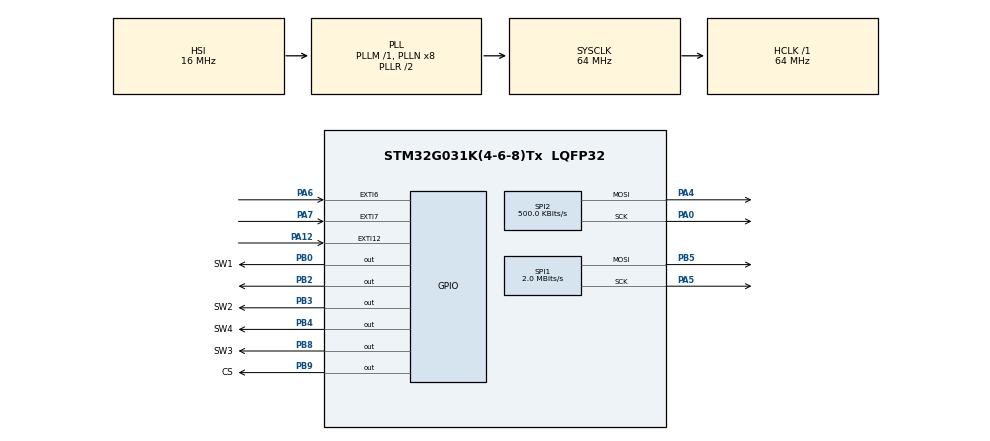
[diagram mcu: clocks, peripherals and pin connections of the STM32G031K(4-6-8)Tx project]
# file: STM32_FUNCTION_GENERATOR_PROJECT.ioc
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Mcu.Family=STM32G0
Mcu.Name=STM32G031K(4-6-8)Tx
Mcu.Package=LQFP32
NVIC.EXTI4_15_IRQn=true\:0\:0\:false\:false\:true\:true\:true\:true
NVIC.TIM14_IRQn=true\:0\:0\:false\:false\:true\:true\:true\:true
PA0.Mode=TX_Only_Simplex_Unidirect_Master
PA0.Signal=SPI2_SCK
PA12\ [PA10].GPIO_ModeDefaultEXTI=GPIO_MODE_IT_FALLING
PA12\ [PA10].GPIO_PuPd=GPIO_PULLDOWN
PA12\ [PA10].Signal=GPXTI12
PA13.GPIO_Label=T_JTMS
PA13.Mode=Serial_Wire
PA13.Signal=SYS_SWDIO
PA14-BOOT0.GPIO_Label=T_JTCK
PA14-BOOT0.Mode=Serial_Wire
PA14-BOOT0.Signal=SYS_SWCLK
PA2.GPIO_Label=T_VCP_TX
PA2.GPIO_PuPd=GPIO_PULLUP
PA2.Signal=USART2_TX
PA3.GPIO_Label=T_VCP_RX
PA3.GPIO_PuPd=GPIO_PULLUP
PA3.Signal=USART2_RX
PA4.Mode=TX_Only_Simplex_Unidirect_Master
PA4.Signal=SPI2_MOSI
PA5.Mode=TX_Only_Simplex_Unidirect_Master
PA5.Signal=SPI1_SCK
PA6.GPIO_ModeDefaultEXTI=GPIO_MODE_IT_FALLING
PA6.GPIO_PuPd=GPIO_PULLDOWN
PA6.Signal=GPXTI6
PA7.GPIO_ModeDefaultEXTI=GPIO_MODE_IT_FALLING
PA7.GPIO_PuPd=GPIO_PULLDOWN
PA7.Signal=GPXTI7
PB0.GPIO_Label=SW1
PB0.Signal=GPIO_Output
PB2.Signal=GPIO_Output
PB3.GPIO_Label=SW2
PB3.Signal=GPIO_Output
PB4.GPIO_Label=SW4
PB4.Signal=GPIO_Output
PB5.Mode=TX_Only_Simplex_Unidirect_Master
PB5.Signal=SPI1_MOSI
PB8.GPIO_Label=SW3
PB8.Signal=GPIO_Output
PB9.GPIO_Label=CS
PB9.Signal=GPIO_Output
ProjectManager.HeapSize=0x200
ProjectManager.StackSize=0x400
ProjectManager.TargetToolchain=STM32CubeIDE
RCC.ADCFreq_Value=64000000
RCC.AHBFreq_Value=64000000
RCC.APB1CLKDivider=RCC_HCLK_DIV2
RCC.CortexFreq_Value=64000000
RCC.EXTERNAL_CLOCK_VALUE=12288000
RCC.HCLKFreq_Value=64000000
RCC.HSE_VALUE=8000000
RCC.HSI_VALUE=16000000
RCC.LSE_VALUE=32768
RCC.SYSCLKFreq_VALUE=64000000
RCC.SYSCLKSource=RCC_SYSCLKSOURCE_PLLCLK
RCC.VCOOutputFreq_Value=128000000
SPI1.BaudRatePrescaler=SPI_BAUDRATEPRESCALER_16
SPI1.CalculateBaudRate=2.0 MBits/s
SPI1.DataSize=SPI_DATASIZE_16BIT
SPI1.Direction=SPI_DIRECTION_2LINES
SPI1.Mode=SPI_MODE_MASTER
SPI1.VirtualType=VM_MASTER
SPI2.BaudRatePrescaler=SPI_BAUDRATEPRESCALER_64
SPI2.CalculateBaudRate=500.0 KBits/s
SPI2.DataSize=SPI_DATASIZE_16BIT
SPI2.Direction=SPI_DIRECTION_2LINES
SPI2.Mode=SPI_MODE_MASTER
SPI2.VirtualType=VM_MASTER
TIM14.Period=200
TIM14.Prescaler=8
VP_TIM14_VS_ClockSourceINT.Mode=Enable_Timer
board=NUCLEO-G031K8

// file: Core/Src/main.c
/* USER CODE BEGIN Header */
/**
  ******************************************************************************
  * @file           : main.c
  * @brief          : Main program body
  ******************************************************************************
  * @attention
  *
  * Copyright (c) 2024 STMicroelectronics.
  * All rights reserved.
  *
  * This software is licensed under terms that can be found in the LICENSE file
  * in the root directory of this software component.
  * If no LICENSE file comes with this software, it is provided AS-IS.
  *
  ******************************************************************************
  */
/* USER CODE END Header */
#include "main.h"

/* USER CODE BEGIN Includes */
#include <math.h>
/* USER CODE END Includes */

SPI_HandleTypeDef hspi1;
SPI_HandleTypeDef hspi2;

TIM_HandleTypeDef htim14;

/* USER CODE BEGIN PV */
uint8_t sine_table[TABLE_SIZE];
uint8_t square_table[TABLE_SIZE];
uint8_t triangle_table[TABLE_SIZE];

volatile WaveformType current_waveform = WAVEFORM_SINE;

volatile bool activate_cap1_state; // Capacitor 1 -> 10uF
volatile bool activate_cap2_state; // Capacitor 2 -> 1uF
volatile bool activate_cap3_state; // Capacitor 3 -> 100nF
volatile bool activate_cap4_state; // Capacitor 4 -> 10nF
/* USER CODE END PV */

void SystemClock_Config(void);
static void MX_GPIO_Init(void);
static void MX_SPI1_Init(void);
static void MX_TIM14_Init(void);
static void MX_SPI2_Init(void);
/* USER CODE BEGIN PFP */
void DAC_SetValue(uint8_t value);
void GenerateSineTable();
void GenerateSquareTable();
void GenerateTriangleTable();
void POT_SetValue(uint8_t value);
void CycleWaveform();
void set_RC_filter(uint8_t pot_value, bool cap1, bool cap2, bool cap3, bool cap4); // Pour faire des ajustements facilement
void set_capacitors(bool cap1, bool cap2, bool cap3, bool cap4);
void adjust_pot_based_on_TIM14(void);
/* USER CODE END PFP */

/* USER CODE BEGIN 0 */
void GenerateSineTable() {
    for(int i = 0; i < TABLE_SIZE; i++)
        sine_table[i] = (uint8_t)((sin(2 * PI * i / TABLE_SIZE) + 1) * (127.5/2)); // Scale to 0-255
}

void GenerateSquareTable() {
    for(int i = 0; i < TABLE_SIZE; i++)
        square_table[i] = (i < (TABLE_SIZE / 2)) ? 128 : 0;
}

void GenerateTriangleTable() {
    for(int i = 0; i <= TABLE_SIZE/2; i++)
        	triangle_table[i] = i * (256/TABLE_SIZE);    // Rising edge

    for(int i = TABLE_SIZE/2; i < TABLE_SIZE; i++)
    	triangle_table[i] = 255 - (i * (256/TABLE_SIZE));    	// Falling edge
}

void CycleWaveform() {
    current_waveform = (current_waveform + 1) % WAVEFORM_COUNT;
}

void DAC_SetValue(uint8_t value) {
    uint16_t data = 0;

    data |= MCP4901_BUFFER;
    data |= MCP4901_GAIN2X;
    data |= MCP4901_ACTIVE;
    data |= (value << 4); // Place the 8-bit data in bits 11-4

    // Drive the CS pin low (active low)
    HAL_GPIO_WritePin(GPIOB, CS_Pin, GPIO_PIN_RESET);

    // Transmit data over SPI
    HAL_SPI_Transmit(&hspi1, (uint8_t*)&data, 1, HAL_MAX_DELAY);

    // Then raise CS (causes the data to be latched into the DAC's input register)
    HAL_GPIO_WritePin(GPIOB, CS_Pin, GPIO_PIN_SET);
}

void POT_SetValue(uint8_t value) {
	if(value > 128)
		value = 127;

	uint16_t data = 0;

	data |= value;

	// Enable (NCS low)
	HAL_GPIO_WritePin(GPIOB,GPIO_PIN_2,GPIO_PIN_RESET);

	HAL_SPI_Transmit(&hspi2, (uint8_t*)&data, 1, HAL_MAX_DELAY);

	// Disable (NCS high)
	HAL_GPIO_WritePin(GPIOB,GPIO_PIN_2,GPIO_PIN_SET);
}

/**
 * @brief Sets the RC filter by configuring the potentiometer and activating/deactivating capacitors.
 *
 * @param pot_value    The desired potentiometer value (0 to 127).
 * @param cap1         Activate Capacitor 1 if true; deactivate if false.
 * @param cap2         Activate Capacitor 2 if true; deactivate if false.
 * @param cap3         Activate Capacitor 3 if true; deactivate if false.
 * @param cap4         Activate Capacitor 4 if true; deactivate if false.
 */
void set_RC_filter(uint8_t pot_value, bool cap1, bool cap2, bool cap3, bool cap4) {
    // Limit potentiometer value to 127 (7-bit resolution)
    if(pot_value > 127)
        pot_value = 127;

    // Set the potentiometer to the specified value
    POT_SetValue(pot_value);

    // Activate or deactivate Capacitor 1 (PB0)
    if(cap1)
        HAL_GPIO_WritePin(GPIOB, SW1_Pin, GPIO_PIN_SET);
    else
        HAL_GPIO_WritePin(GPIOB, SW1_Pin, GPIO_PIN_RESET);

    // Activate or deactivate Capacitor 2 (PB3)
    if(cap2)
        HAL_GPIO_WritePin(GPIOB, SW2_Pin, GPIO_PIN_SET);
    else
        HAL_GPIO_WritePin(GPIOB, SW2_Pin, GPIO_PIN_RESET);

    // Activate or deactivate Capacitor 3 (PB8)
    if(cap3)
        HAL_GPIO_WritePin(GPIOB, SW3_Pin, GPIO_PIN_SET);
    else
        HAL_GPIO_WritePin(GPIOB, SW3_Pin, GPIO_PIN_RESET);

    // Activate or deactivate Capacitor 4 (PB4)
    if(cap4)
        HAL_GPIO_WritePin(GPIOB, SW4_Pin, GPIO_PIN_SET);
    else
        HAL_GPIO_WritePin(GPIOB, SW4_Pin, GPIO_PIN_RESET);
}

void set_capacitors(bool cap1, bool cap2, bool cap3, bool cap4) {
    // Update global capacitor state variables
    activate_cap1_state = cap1;
    activate_cap2_state = cap2;
    activate_cap3_state = cap3;
    activate_cap4_state = cap4;

    // Activate or deactivate Capacitor 1 (SW1_Pin = PB0 = D6)
    if (cap1) {
        HAL_GPIO_WritePin(GPIOB, SW1_Pin, GPIO_PIN_SET);
    } else {
        HAL_GPIO_WritePin(GPIOB, SW1_Pin, GPIO_PIN_RESET);
    }

    // Activate or deactivate Capacitor 2 (SW2_Pin = PB3 = D13)
    if (cap2) {
        HAL_GPIO_WritePin(GPIOB, SW2_Pin, GPIO_PIN_SET);
    } else {
        HAL_GPIO_WritePin(GPIOB, SW2_Pin, GPIO_PIN_RESET);
    }

    // Activate or deactivate Capacitor 3 (SW3_Pin = PB8 = D8)
    if (cap3) {
        HAL_GPIO_WritePin(GPIOB, SW3_Pin, GPIO_PIN_SET);
    } else {
        HAL_GPIO_WritePin(GPIOB, SW3_Pin, GPIO_PIN_RESET);
    }

    // Activate or deactivate Capacitor 4 (SW4_Pin = PB4 = D12)
    if (cap4) {
        HAL_GPIO_WritePin(GPIOB, SW4_Pin, GPIO_PIN_SET);
    } else {
        HAL_GPIO_WritePin(GPIOB, SW4_Pin, GPIO_PIN_RESET);
    }
}

void adjust_pot_based_on_TIM14(void) {
    // Retrieve the current ARR value from TIM14
    uint32_t current_ARR = htim14.Instance->ARR;

    uint8_t pot_value = 0; // Default potentiometer value

    // Note: Higher ARR (lower SPI rate) -> Higher pot_value (higher R, lower f_c)

    switch(current_waveform) {
        case WAVEFORM_SQUARE:
            // No filtering: deactivate all capacitors and set potentiometer to lowest value
            pot_value = 0; // Lowest potentiometer value
            set_capacitors(false, false, false, false);
            POT_SetValue(pot_value);
            break;

        case WAVEFORM_SINE:
            if (current_ARR <= 400)
                pot_value = 100;
            else if (current_ARR <= 800)
                pot_value = 80;
            else if (current_ARR <= 1200)
                pot_value = 60;
            else if (current_ARR <= 1600)
                pot_value = 40;
            else if (current_ARR <= 2000)
                pot_value = 20;
            else
                pot_value = 127;

            // On doit remettre l'états des capa vu qu'elles sont reset quand current_waveform == WAVEFORM_SQUARE
            activate_cap1_state = false;
            activate_cap2_state = false;
            activate_cap3_state = true;
            activate_cap4_state = false;

            set_capacitors(activate_cap1_state, activate_cap2_state, activate_cap3_state, activate_cap4_state);
            POT_SetValue(pot_value);
            break;

        case WAVEFORM_TRIANGLE:
            if (current_ARR <= 400)
                pot_value = 0;
            else if (current_ARR <= 800)
                pot_value = 10;
            else if (current_ARR <= 1200)
                pot_value = 10;
            else
                pot_value = 10;

            activate_cap1_state = false;
            activate_cap2_state = false;
            activate_cap3_state = true;
            activate_cap4_state = false;

            set_capacitors(activate_cap1_state, activate_cap2_state, activate_cap3_state, activate_cap4_state);
            POT_SetValue(pot_value);
            break;

        default:
            // boh ?
            break;
    }
}
/* USER CODE END 0 */

int main(void)
{

  /* MCU Configuration--------------------------------------------------------*/

  /* Reset of all peripherals, Initializes the Flash interface and the Systick. */
  HAL_Init();

  /* USER CODE BEGIN Init */
  GenerateSineTable();
  GenerateSquareTable();
  GenerateTriangleTable();
  /* USER CODE END Init */

  /* Configure the system clock */
  SystemClock_Config();

  /* Initialize all configured peripherals */
  MX_GPIO_Init();
  MX_SPI1_Init();
  MX_TIM14_Init();
  MX_SPI2_Init();
  /* USER CODE BEGIN 2 */
  HAL_TIM_Base_Start_IT(&htim14);

  // Config initiale des capa. (et des variables globales)
  //-----------------------------
  activate_cap1_state = false;    // sur la breadboard -> 10nF
  activate_cap2_state = false;     // 100nF
  activate_cap3_state = true;
  activate_cap4_state = false;

  // Set capacitors (without changing the potentiometer)
  set_capacitors(activate_cap1_state,
		  	  	 activate_cap2_state,
				 activate_cap3_state,
				 activate_cap4_state);
  //-----------------------------
  /* USER CODE END 2 */

  /* Infinite loop */
  while (1)
  {

  }
}

void SystemClock_Config(void)
{
  RCC_OscInitTypeDef RCC_OscInitStruct = {0};
  RCC_ClkInitTypeDef RCC_ClkInitStruct = {0};

  /** Configure the main internal regulator output voltage
  */
  HAL_PWREx_ControlVoltageScaling(PWR_REGULATOR_VOLTAGE_SCALE1);

  /** Initializes the RCC Oscillators according to the specified parameters
  * in the RCC_OscInitTypeDef structure.
  */
  RCC_OscInitStruct.OscillatorType = RCC_OSCILLATORTYPE_HSI;
  RCC_OscInitStruct.HSIState = RCC_HSI_ON;
  RCC_OscInitStruct.HSIDiv = RCC_HSI_DIV1;
  RCC_OscInitStruct.HSICalibrationValue = RCC_HSICALIBRATION_DEFAULT;
  RCC_OscInitStruct.PLL.PLLState = RCC_PLL_ON;
  RCC_OscInitStruct.PLL.PLLSource = RCC_PLLSOURCE_HSI;
  RCC_OscInitStruct.PLL.PLLM = RCC_PLLM_DIV1;
  RCC_OscInitStruct.PLL.PLLN = 8;
  RCC_OscInitStruct.PLL.PLLP = RCC_PLLP_DIV2;
  RCC_OscInitStruct.PLL.PLLQ = RCC_PLLQ_DIV2;
  RCC_OscInitStruct.PLL.PLLR = RCC_PLLR_DIV2;
  if (HAL_RCC_OscConfig(&RCC_OscInitStruct) != HAL_OK)
  {
    Error_Handler();
  }

  /** Initializes the CPU, AHB and APB buses clocks
  */
  RCC_ClkInitStruct.ClockType = RCC_CLOCKTYPE_HCLK|RCC_CLOCKTYPE_SYSCLK
                              |RCC_CLOCKTYPE_PCLK1;
  RCC_ClkInitStruct.SYSCLKSource = RCC_SYSCLKSOURCE_PLLCLK;
  RCC_ClkInitStruct.AHBCLKDivider = RCC_SYSCLK_DIV1;
  RCC_ClkInitStruct.APB1CLKDivider = RCC_HCLK_DIV2;

  if (HAL_RCC_ClockConfig(&RCC_ClkInitStruct, FLASH_LATENCY_2) != HAL_OK)
  {
    Error_Handler();
  }
}

static void MX_SPI1_Init(void)
{

  /* SPI1 parameter configuration*/
  hspi1.Instance = SPI1;
  hspi1.Init.Mode = SPI_MODE_MASTER;
  hspi1.Init.Direction = SPI_DIRECTION_2LINES;
  hspi1.Init.DataSize = SPI_DATASIZE_16BIT;
  hspi1.Init.CLKPolarity = SPI_POLARITY_LOW;
  hspi1.Init.CLKPhase = SPI_PHASE_1EDGE;
  hspi1.Init.NSS = SPI_NSS_SOFT;
  hspi1.Init.BaudRatePrescaler = SPI_BAUDRATEPRESCALER_16;
  hspi1.Init.FirstBit = SPI_FIRSTBIT_MSB;
  hspi1.Init.TIMode = SPI_TIMODE_DISABLE;
  hspi1.Init.CRCCalculation = SPI_CRCCALCULATION_DISABLE;
  hspi1.Init.CRCPolynomial = 7;
  hspi1.Init.CRCLength = SPI_CRC_LENGTH_DATASIZE;
  hspi1.Init.NSSPMode = SPI_NSS_PULSE_ENABLE;
  if (HAL_SPI_Init(&hspi1) != HAL_OK)
  {
    Error_Handler();
  }

}

static void MX_SPI2_Init(void)
{

  /* SPI2 parameter configuration*/
  hspi2.Instance = SPI2;
  hspi2.Init.Mode = SPI_MODE_MASTER;
  hspi2.Init.Direction = SPI_DIRECTION_2LINES;
  hspi2.Init.DataSize = SPI_DATASIZE_16BIT;
  hspi2.Init.CLKPolarity = SPI_POLARITY_LOW;
  hspi2.Init.CLKPhase = SPI_PHASE_1EDGE;
  hspi2.Init.NSS = SPI_NSS_SOFT;
  hspi2.Init.BaudRatePrescaler = SPI_BAUDRATEPRESCALER_64;
  hspi2.Init.FirstBit = SPI_FIRSTBIT_MSB;
  hspi2.Init.TIMode = SPI_TIMODE_DISABLE;
  hspi2.Init.CRCCalculation = SPI_CRCCALCULATION_DISABLE;
  hspi2.Init.CRCPolynomial = 7;
  hspi2.Init.CRCLength = SPI_CRC_LENGTH_DATASIZE;
  hspi2.Init.NSSPMode = SPI_NSS_PULSE_ENABLE;
  if (HAL_SPI_Init(&hspi2) != HAL_OK)
  {
    Error_Handler();
  }

}

static void MX_TIM14_Init(void)
{

  htim14.Instance = TIM14;
  htim14.Init.Prescaler = 8;
  htim14.Init.CounterMode = TIM_COUNTERMODE_UP;
  htim14.Init.Period = 200;
  htim14.Init.ClockDivision = TIM_CLOCKDIVISION_DIV1;
  htim14.Init.AutoReloadPreload = TIM_AUTORELOAD_PRELOAD_DISABLE;
  if (HAL_TIM_Base_Init(&htim14) != HAL_OK)
  {
    Error_Handler();
  }

}

static void MX_GPIO_Init(void)
{
  GPIO_InitTypeDef GPIO_InitStruct = {0};

  /* GPIO Ports Clock Enable */
  __HAL_RCC_GPIOB_CLK_ENABLE();
  __HAL_RCC_GPIOA_CLK_ENABLE();

  /*Configure GPIO pin Output Level */
  HAL_GPIO_WritePin(GPIOB, CS_Pin|SW1_Pin|GPIO_PIN_2|SW2_Pin
                          |SW4_Pin|SW3_Pin, GPIO_PIN_RESET);

  /*Configure GPIO pins : CS_Pin SW1_Pin PB2 SW2_Pin
                           SW4_Pin SW3_Pin */
  GPIO_InitStruct.Pin = CS_Pin|SW1_Pin|GPIO_PIN_2|SW2_Pin
                          |SW4_Pin|SW3_Pin;
  GPIO_InitStruct.Mode = GPIO_MODE_OUTPUT_PP;
  GPIO_InitStruct.Pull = GPIO_NOPULL;
  GPIO_InitStruct.Speed = GPIO_SPEED_FREQ_LOW;
  HAL_GPIO_Init(GPIOB, &GPIO_InitStruct);

  /*Configure GPIO pins : T_VCP_TX_Pin T_VCP_RX_Pin */
  GPIO_InitStruct.Pin = T_VCP_TX_Pin|T_VCP_RX_Pin;
  GPIO_InitStruct.Mode = GPIO_MODE_AF_PP;
  GPIO_InitStruct.Pull = GPIO_PULLUP;
  GPIO_InitStruct.Speed = GPIO_SPEED_FREQ_LOW;
  GPIO_InitStruct.Alternate = GPIO_AF1_USART2;
  HAL_GPIO_Init(GPIOA, &GPIO_InitStruct);

  /*Configure GPIO pins : PA6 PA7 PA12 */
  GPIO_InitStruct.Pin = GPIO_PIN_6|GPIO_PIN_7|GPIO_PIN_12;
  GPIO_InitStruct.Mode = GPIO_MODE_IT_FALLING;
  GPIO_InitStruct.Pull = GPIO_PULLDOWN;
  HAL_GPIO_Init(GPIOA, &GPIO_InitStruct);

  /* EXTI interrupt init*/
  HAL_NVIC_SetPriority(EXTI4_15_IRQn, 0, 0);
  HAL_NVIC_EnableIRQ(EXTI4_15_IRQn);

}

/* USER CODE BEGIN 4 */
//Interrupt for increasing frequency when user push a button. Do exactly the same thing for decreasing it.
void HAL_GPIO_EXTI_Falling_Callback(uint16_t GPIO_Pin)
{
	if(GPIO_Pin == GPIO_PIN_6)
		if(TIM14 -> ARR < 2000)
			TIM14 -> ARR += 50; //adjustable, one idea is to divide the frequency band in n slices.

	if(GPIO_Pin == GPIO_PIN_7)
		if(TIM14 -> ARR > 200)
			TIM14 -> ARR -= 50;

	if(GPIO_Pin == GPIO_PIN_12)
		CycleWaveform();

	if(AUTO_POT_AJUST)
		adjust_pot_based_on_TIM14();
}
/* USER CODE END 4 */

void Error_Handler(void)
{
  __disable_irq();
  while (1)
  {
  }
}
